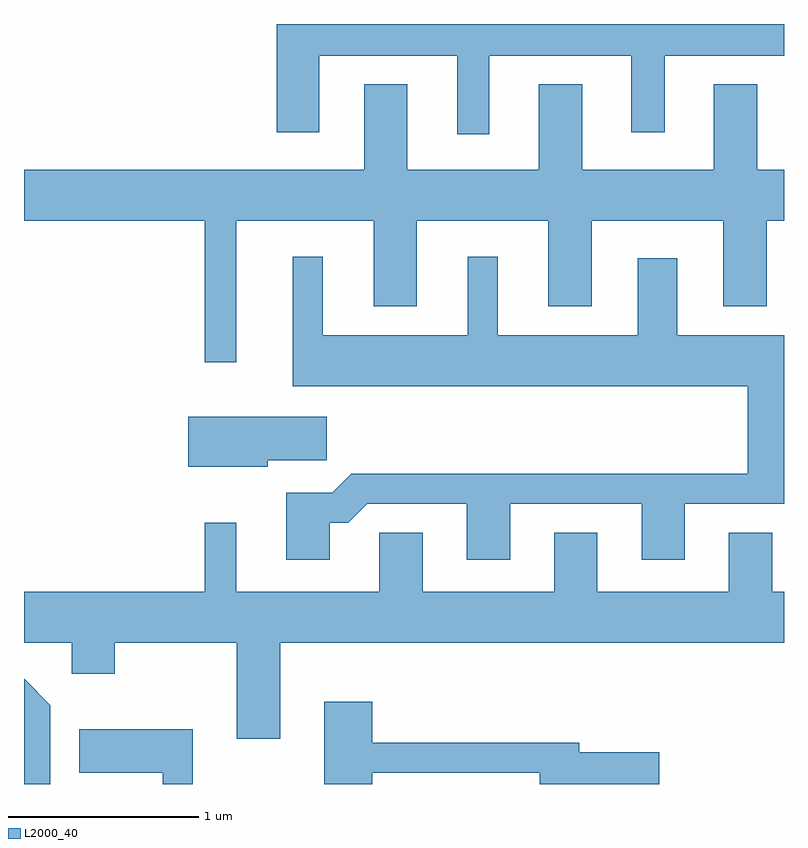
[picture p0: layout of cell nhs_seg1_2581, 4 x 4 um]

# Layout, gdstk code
import gdstk
lib = gdstk.Library(unit=1e-6, precision=1e-09)
def P(c, l, *ps):  # polygons
    for p in ps: c.add(gdstk.Polygon(p, *l))
L2000_40 = (2000, 40)

nhs_seg1_2581 = lib.new_cell('nhs_seg1_2581')
P(nhs_seg1_2581, L2000_40, [(266.059,911.546),(266.806,911.546),(266.806,911.141),(266.984,911.141),(266.984,911.546),(267.611,911.546),(267.611,911.712),(264.941,911.712),(264.941,911.141),(265.164,911.141),(265.164,911.546),(265.891,911.546),(265.891,911.133),(266.059,911.133)],
  [(265.679,910.676),(266.371,910.676),(266.371,910.226),(266.599,910.226),(266.599,910.676),(267.291,910.676),(267.291,910.226),(267.519,910.226),(267.519,910.676),(267.611,910.676),(267.611,910.944),(267.469,910.944),(267.469,911.394),(267.241,911.394),(267.241,910.944),(266.549,910.944),(266.549,911.394),(266.321,911.394),(266.321,910.944),(265.629,910.944),(265.629,911.394),(265.401,911.394),(265.401,910.944),(263.611,910.944),(263.611,910.676),(264.561,910.676),(264.561,909.933),(264.729,909.933),(264.729,910.676),(265.451,910.676),(265.451,910.226),(265.679,910.226)],
  [(265.219,909.086),(265.317,909.086),(265.417,909.186),(265.941,909.186),(265.941,908.891),(266.169,908.891),(266.169,909.186),(266.861,909.186),(266.861,908.891),(267.089,908.891),(267.089,909.186),(267.611,909.186),(267.611,910.074),(267.049,910.074),(267.049,910.479),(266.841,910.479),(266.841,910.074),(266.104,910.074),(266.104,910.488),(265.946,910.488),(265.946,910.074),(265.184,910.074),(265.184,910.488),(265.026,910.488),(265.026,909.806),(267.421,909.806),(267.421,909.344),(265.334,909.344),(265.234,909.244),(264.991,909.244),(264.991,908.891),(265.219,908.891)],
  [(264.894,909.416),(265.204,909.416),(265.204,909.644),(264.476,909.644),(264.476,909.381),(264.894,909.381)],
  [(264.959,908.456),(267.611,908.456),(267.611,908.724),(267.549,908.724),(267.549,909.034),(267.321,909.034),(267.321,908.724),(266.629,908.724),(266.629,909.034),(266.401,909.034),(266.401,908.724),(265.709,908.724),(265.709,909.034),(265.481,909.034),(265.481,908.724),(264.729,908.724),(264.729,909.088),(264.561,909.088),(264.561,908.724),(263.611,908.724),(263.611,908.456),(263.861,908.456),(263.861,908.291),(264.089,908.291),(264.089,908.456),(264.731,908.456),(264.731,907.951),(264.959,907.951)],
  [(263.749,908.127),(263.611,908.265),(263.611,907.712),(263.749,907.712)],
  [(265.444,907.771),(266.326,907.771),(266.326,907.712),(266.954,907.712),(266.954,907.879),(266.534,907.879),(266.534,907.929),(265.444,907.929),(265.444,908.144),(265.191,908.144),(265.191,907.712),(265.444,907.712)],
  [(264.499,907.999),(263.901,907.999),(263.901,907.771),(264.341,907.771),(264.341,907.712),(264.499,907.712)])

lib.write_gds('nhs_seg1_2581.gds')
